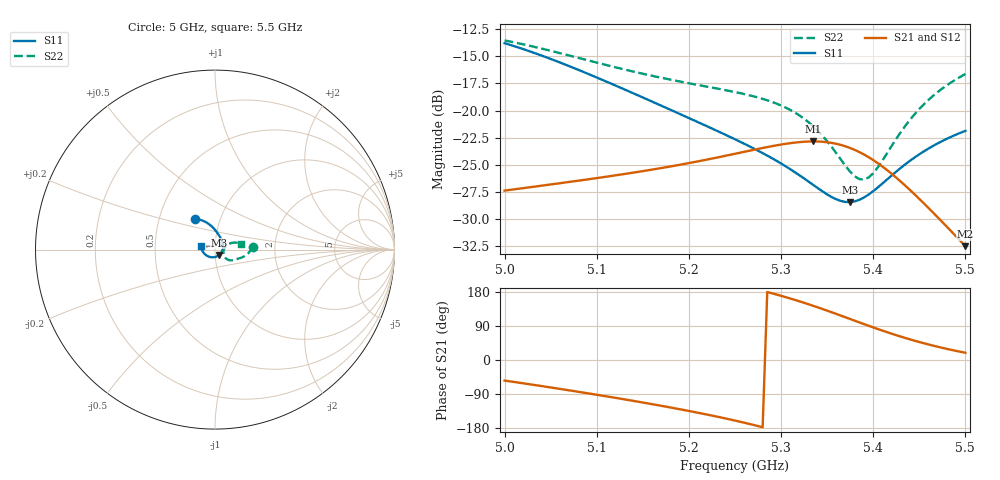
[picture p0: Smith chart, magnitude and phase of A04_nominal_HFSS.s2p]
! Touchstone file from project Antenna
! Exported from HFSS 2018.0.0
# GHZ S RI R 50.000000
! Modal data exported
! Port[1] = J1:1
! Port[2] = J2:1
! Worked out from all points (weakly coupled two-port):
!   101 points, 5 GHz to 5.5 GHz, reference 50 ohm
!   highest |S21| = -22.84 dB at 5.335 GHz (marker M1); lowest = -32.5 dB at 5.5 GHz (marker M2)
!   lowest |S11| = -28.4 dB at 5.375 GHz (marker M3), VSWR 1.08, Z = 52.3 - j3.13 ohm
!   |S11| at or under -10 dB: start of sweep to end of sweep
!   |S22| runs from -26.4 to -13.5 dB; largest |S21 - S12| = 2.3e-16
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5  -0.1123 0.1705  0.025 -0.0348  0.025 -0.0348  0.2095 0.0169
5.04  -0.0741 0.1632  0.0163 -0.042  0.0163 -0.042  0.1925 -0.0123
5.085  -0.039 0.1458  0.00347 -0.0478  0.00347 -0.0478  0.1694 -0.0332
5.17  0.0039 0.1052  -0.0279 -0.0467  -0.0279 -0.0467  0.1327 -0.0495
5.25  0.0293 0.0677  -0.0594 -0.0218  -0.0594 -0.0218  0.1076 -0.0568
5.28  0.0377 0.0514  -0.0672 -0.003  -0.0672 -0.003  0.0965 -0.0592
5.3  0.0424 0.0382  -0.0686 0.0129  -0.0686 0.0129  0.087 -0.0597
5.32  0.0452 0.0222  -0.0648 0.0305  -0.0648 0.0305  0.0755 -0.0575
5.335  0.0447 0.0083  -0.0575 0.0435  -0.0575 0.0435  0.066 -0.0529
5.345  0.0424 -0.00166  -0.0504 0.0512  -0.0504 0.0512  0.0597 -0.0478
5.36  0.0353 -0.0167  -0.0367 0.0599  -0.0367 0.0599  0.0517 -0.037
5.375  0.0233 -0.0299  -0.0209 0.0639  -0.0209 0.0639  0.0472 -0.0226
5.38  0.0183 -0.0336  -0.0155 0.064  -0.0155 0.064  0.0467 -0.0172
5.385  0.0128 -0.0367  -0.0102 0.0636  -0.0102 0.0636  0.0469 -0.0118
5.39  0.00708 -0.0392  -0.00516 0.0626  -0.00516 0.0626  0.0477 -0.00625
5.395  0.00108 -0.041  -0.000343 0.061  -0.000343 0.061  0.0492 -0.000795
5.405  -0.0113 -0.0428  0.00825 0.0566  0.00825 0.0566  0.0539 0.00961
5.42  -0.0294 -0.0408  0.018 0.0479  0.018 0.0479  0.0648 0.0228
5.44  -0.05 -0.0309  0.0251 0.035  0.0251 0.035  0.084 0.0345
5.455  -0.0618 -0.02  0.0268 0.026  0.0268 0.026  0.0997 0.0384
5.475  -0.0724 -0.00304  0.026 0.0163  0.026 0.0163  0.1204 0.0383
5.5  -0.0783 0.0194  0.0225 0.00778  0.0225 0.00778  0.1439 0.0312
